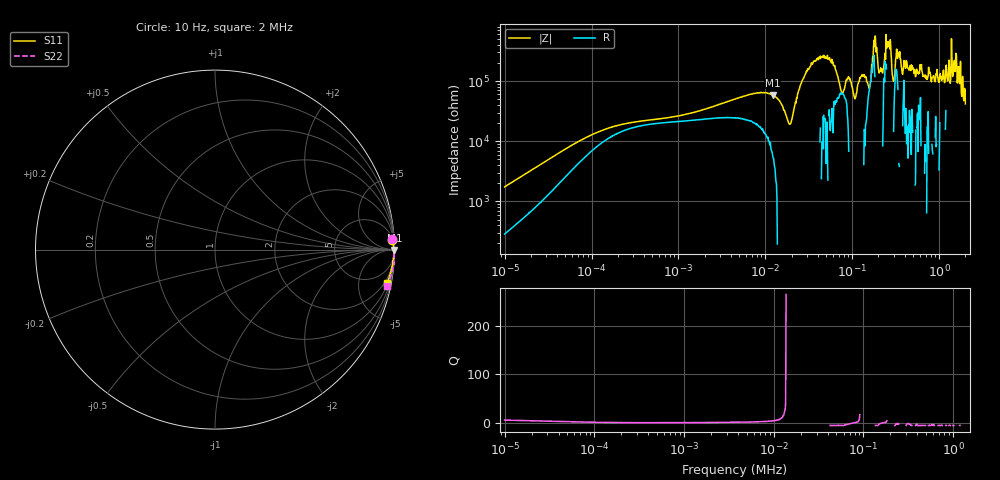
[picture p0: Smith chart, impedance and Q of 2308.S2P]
!Agilent Technologies,E5061B,MY49204007,A.02.12
!Date: Wed Jul 23 11:51:52 2025
!Data & Calibration Information:
!Freq	S11:SOLT2(ON)	S21:SOLT2(ON)	S12:SOLT2(ON)	S22:SOLT2(ON)
# Hz S dB R 50
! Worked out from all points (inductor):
!   1040 points, 10 Hz to 2 MHz, reference 50 ohm
!   read as one part in series: L = 26.5 H near 10.69 Hz
!   highest Q = 9.92 at 12.11 kHz (marker M1), where L = 769 mH
!   self-resonance near 19.32 kHz
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10  -0.10 3.2  -24.91 -77.2  -24.91 -77.1  -0.08 3.4
77.209  -0.04 0.5  -40.53 -62.1  -40.54 -62.0  -0.02 0.7
588.818  -0.03 0.1  -47.43 -31.7  -47.46 -31.7  -0.02 0.3
4498.482  -0.01 0.0  -54.07 -61.2  -54.04 -60.8  0.01 0.3
12111.76  -0.01 -0.1  -55.39 -84.2  -55.44 -83.9  0.01 0.1
19320.97  -0.07 -0.1  -45.74 -174.9  -45.76 -174.5  -0.02 0.1
34305.13  -0.01 -0.1  -65.54 98.9  -65.70 95.1  0.01 -0.0
54714.06  -0.00 -0.3  -67.76 84.5  -66.65 88.5  0.01 -0.2
75946.9  -0.01 -0.4  -55.90 7.7  -56.17 7.7  -0.03 -0.3
91012.27  -0.01 -0.5  -61.42 -87.1  -61.36 -85.0  0.01 -0.3
106678.2  -0.05 -0.6  -54.16 -176.6  -54.22 -175.9  0.00 -0.4
127920.3  -0.01 -0.6  -61.68 96.0  -62.35 98.1  0.01 -0.6
156570.3  -0.01 -0.9  -57.54 22.9  -57.85 26.3  -0.02 -0.8
182035  -0.01 -1.0  -74.96 -78.7  -74.22 -99.3  0.00 -0.8
209621.8  -0.03 -0.9  -63.34 105.2  -62.58 103.8  0.00 -1.0
261946.5  -0.01 -1.4  -72.69 89.9  -73.72 81.9  0.00 -1.2
298759.9  -0.03 -1.5  -59.92 80.0  -60.94 82.1  -0.01 -1.5
335202.7  -0.02 -1.8  -69.24 73.8  -67.42 73.7  -0.01 -1.7
375694.8  -0.04 -2.0  -62.58 90.9  -61.10 83.5  -0.02 -1.9
857145.1  -0.05 -4.6  -61.82 89.8  -61.81 88.2  0.00 -5.2
1456380  -0.12 -7.7  -64.20 120.7  -61.76 106.5  -0.10 -8.5
2000000  -0.21 -11.0  -52.70 -127.4  -53.02 -130.8  -0.20 -11.8
